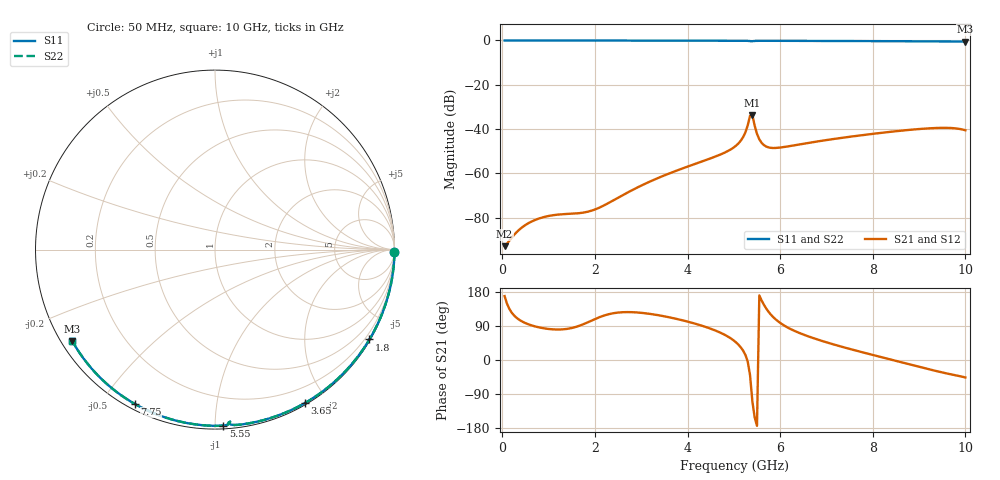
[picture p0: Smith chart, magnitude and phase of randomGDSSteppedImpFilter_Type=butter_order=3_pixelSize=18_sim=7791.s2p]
! freq	dB(S11)	phase(S11)	dB(S12)	phase(S12)
!  dB(S21)	phase(S21)	dB(S22)	phase(S22)
!S-par simulation data
#  GHz  S  DB  R 50
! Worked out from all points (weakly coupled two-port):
!   200 points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, 50 MHz to 10 GHz, reference 50 ohm
!   highest |S21| = -33.65 dB at 5.4 GHz (marker M1); lowest = -92.9 dB at 50 MHz (marker M2)
!   lowest |S11| = -0.5 dB at 10 GHz (marker M3), VSWR 34.96, Z = 1.55 - j14.7 ohm
!   |S11| at or under -10 dB: nowhere
!   |S22| runs from -0.5 to 0.0 dB; largest |S21 - S12| = 0
!   S11 on the Smith chart (normalised r, x): 50 MHz: open; 1.8 GHz: 0.03, -3.71; 3.65 GHz: 0.02, -1.74; 5.55 GHz: 0.02, -1.05; 7.75 GHz: 0.02, -0.61; 10 GHz: 0.03, -0.29
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0.05  -0.00 -0.9  -92.92 168.6  -92.92 168.6  -0.00 -0.9
0.85  -0.01 -14.4  -80.05 84.6  -80.05 84.6  -0.01 -14.4
1.75  -0.04 -29.4  -77.77 94.4  -77.77 94.4  -0.04 -29.4
1.8  -0.04 -30.2  -77.57 97.0  -77.57 97.0  -0.04 -30.2
2.1  -0.05 -35.1  -75.49 113.1  -75.49 113.1  -0.05 -35.1
3.4  -0.07 -55.8  -61.81 117.5  -61.81 117.5  -0.07 -55.8
3.65  -0.08 -59.6  -59.71 111.5  -59.71 111.5  -0.08 -59.6
4.7  -0.11 -75.4  -51.62 72.6  -51.62 72.6  -0.11 -75.4
5.05  -0.13 -80.6  -47.47 46.2  -47.47 46.2  -0.13 -80.6
5.2  -0.14 -83.0  -43.67 24.8  -43.67 24.8  -0.14 -83.0
5.3  -0.18 -84.7  -38.36 -4.2  -38.36 -4.2  -0.18 -84.7
5.35  -0.29 -85.6  -33.99 -40.2  -33.99 -40.2  -0.29 -85.6
5.4  -0.34 -85.0  -33.65 -109.1  -33.65 -109.1  -0.34 -85.0
5.5  -0.18 -86.4  -42.20 -173.7  -42.20 -173.7  -0.18 -86.4
5.55  -0.16 -87.2  -44.64 170.3  -44.64 170.3  -0.16 -87.2
5.65  -0.16 -88.8  -47.29 145.6  -47.29 145.6  -0.16 -88.8
5.85  -0.16 -91.7  -48.58 113.2  -48.58 113.2  -0.16 -91.7
6.7  -0.20 -103.4  -45.97 58.4  -45.97 58.4  -0.20 -103.5
7.75  -0.27 -117.5  -42.84 21.2  -42.84 21.2  -0.27 -117.5
8.35  -0.32 -125.3  -41.34 2.4  -41.34 2.4  -0.32 -125.4
9.45  -0.43 -139.8  -39.49 -31.4  -39.49 -31.4  -0.43 -139.8
10  -0.50 -147.3  -40.58 -46.2  -40.58 -46.2  -0.50 -147.3
